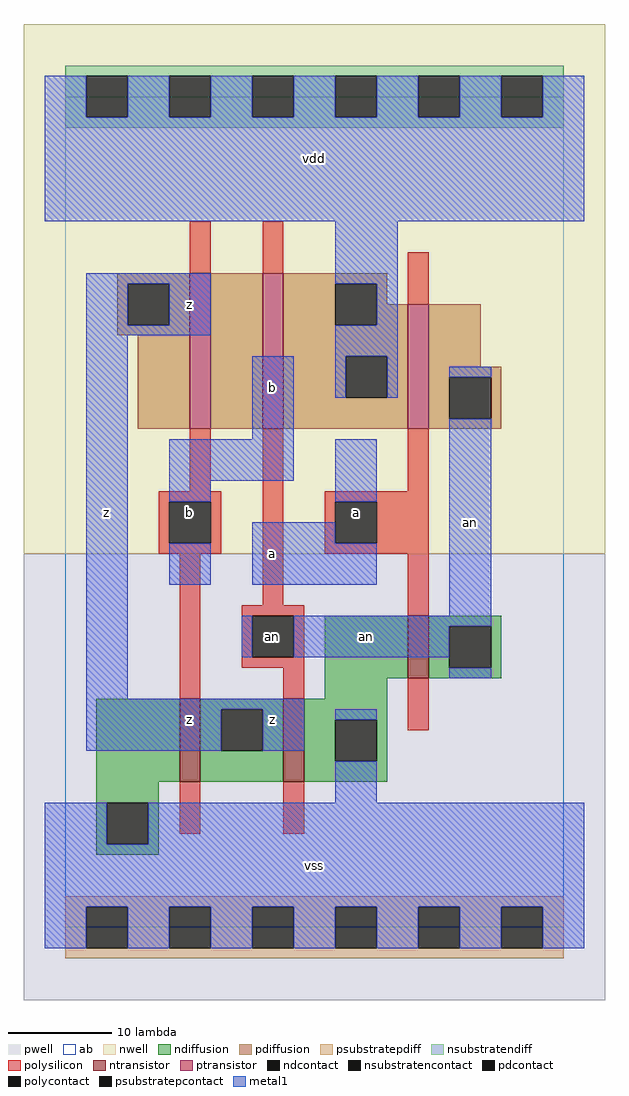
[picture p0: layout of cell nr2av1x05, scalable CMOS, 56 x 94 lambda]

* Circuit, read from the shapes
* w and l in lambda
.subckt nr2av1x05 a an b vdd vss z
M1 z b vss vss nfet w=8 l=2
M2 vss an z vss nfet w=8 l=2
M3 an a vss vss nfet w=6 l=2
M4 n1 b z vdd pfet w=15 l=2
M5 vdd an n1 vdd pfet w=15 l=2
M6 an a vdd vdd pfet w=12 l=2
.ends

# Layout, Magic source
magic
tech scmos
<< ab >>
rect 0 0 48 80
<< pwell >>
rect -4 -7 52 36
<< nwell >>
rect -4 36 52 87
<< polysilicon >>
rect 12 63 14 68
rect 19 63 21 68
rect 33 60 35 65
rect 12 42 14 48
rect 9 41 15 42
rect 9 37 10 41
rect 14 37 15 41
rect 9 36 15 37
rect 11 22 13 36
rect 19 31 21 48
rect 33 42 35 48
rect 25 41 35 42
rect 25 37 26 41
rect 30 37 35 41
rect 25 36 35 37
rect 17 30 23 31
rect 33 30 35 36
rect 17 26 18 30
rect 22 26 23 30
rect 17 25 23 26
rect 21 22 23 25
rect 33 19 35 24
rect 11 9 13 14
rect 21 9 23 14
<< ndiffusion >>
rect 25 24 33 30
rect 35 29 42 30
rect 35 25 37 29
rect 41 25 42 29
rect 35 24 42 25
rect 25 22 31 24
rect 3 14 11 22
rect 13 21 21 22
rect 13 17 15 21
rect 19 17 21 21
rect 13 14 21 17
rect 23 20 31 22
rect 23 16 26 20
rect 30 16 31 20
rect 23 14 31 16
rect 3 12 9 14
rect 3 8 4 12
rect 8 8 9 12
rect 3 7 9 8
<< pdiffusion >>
rect 5 62 12 63
rect 5 58 6 62
rect 10 58 12 62
rect 5 57 12 58
rect 7 48 12 57
rect 14 48 19 63
rect 21 62 31 63
rect 21 58 26 62
rect 30 60 31 62
rect 30 58 33 60
rect 21 55 33 58
rect 21 51 27 55
rect 31 51 33 55
rect 21 48 33 51
rect 35 54 40 60
rect 35 53 42 54
rect 35 49 37 53
rect 41 49 42 53
rect 35 48 42 49
<< metal1 >>
rect -2 78 2 82
rect 6 78 10 82
rect 14 78 18 82
rect 22 78 26 82
rect 30 78 34 82
rect 38 78 42 82
rect 46 78 50 82
rect -2 68 50 78
rect 2 62 14 63
rect 2 58 6 62
rect 10 58 14 62
rect 2 57 14 58
rect 26 62 32 68
rect 30 58 32 62
rect 2 22 6 57
rect 26 55 32 58
rect 18 47 22 55
rect 26 51 27 55
rect 31 51 32 55
rect 37 53 41 54
rect 10 43 22 47
rect 10 41 14 43
rect 26 41 30 47
rect 10 33 14 37
rect 18 37 26 39
rect 18 33 30 37
rect 37 30 41 49
rect 17 26 18 30
rect 22 29 41 30
rect 22 26 37 29
rect 37 24 41 25
rect 2 21 23 22
rect 2 17 15 21
rect 19 17 23 21
rect 26 20 30 21
rect 26 12 30 16
rect -2 8 4 12
rect 8 8 50 12
rect -2 2 50 8
rect -2 -2 2 2
rect 6 -2 10 2
rect 14 -2 18 2
rect 22 -2 26 2
rect 30 -2 34 2
rect 38 -2 42 2
rect 46 -2 50 2
<< ntransistor >>
rect 33 24 35 30
rect 11 14 13 22
rect 21 14 23 22
<< ptransistor >>
rect 12 48 14 63
rect 19 48 21 63
rect 33 48 35 60
<< polycontact >>
rect 10 37 14 41
rect 26 37 30 41
rect 18 26 22 30
<< ndcontact >>
rect 37 25 41 29
rect 15 17 19 21
rect 26 16 30 20
rect 4 8 8 12
<< pdcontact >>
rect 6 58 10 62
rect 26 58 30 62
rect 27 51 31 55
rect 37 49 41 53
<< psubstratepcontact >>
rect 2 -2 6 2
rect 10 -2 14 2
rect 18 -2 22 2
rect 26 -2 30 2
rect 34 -2 38 2
rect 42 -2 46 2
<< nsubstratencontact >>
rect 2 78 6 82
rect 10 78 14 82
rect 18 78 22 82
rect 26 78 30 82
rect 34 78 38 82
rect 42 78 46 82
<< psubstratepdiff >>
rect 0 2 48 3
rect 0 -2 2 2
rect 6 -2 10 2
rect 14 -2 18 2
rect 22 -2 26 2
rect 30 -2 34 2
rect 38 -2 42 2
rect 46 -2 48 2
rect 0 -3 48 -2
<< nsubstratendiff >>
rect 0 82 48 83
rect 0 78 2 82
rect 6 78 10 82
rect 14 78 18 82
rect 22 78 26 82
rect 30 78 34 82
rect 38 78 42 82
rect 46 78 48 82
rect 0 77 48 78
<< labels >>
rlabel polycontact 20 28 20 28 6 an
rlabel metal1 4 40 4 40 6 z
rlabel metal1 20 20 20 20 6 z
rlabel metal1 12 20 12 20 6 z
rlabel metal1 20 36 20 36 6 a
rlabel polycontact 12 40 12 40 6 b
rlabel metal1 20 52 20 52 6 b
rlabel metal1 12 60 12 60 6 z
rlabel metal1 24 6 24 6 6 vss
rlabel polycontact 28 40 28 40 6 a
rlabel metal1 24 74 24 74 6 vdd
rlabel metal1 29 28 29 28 6 an
rlabel metal1 39 39 39 39 6 an
<< end >>
